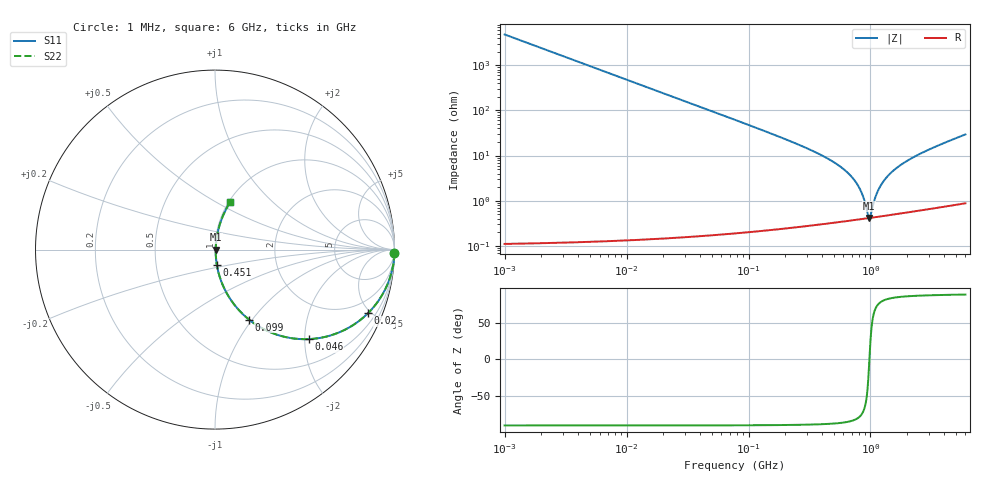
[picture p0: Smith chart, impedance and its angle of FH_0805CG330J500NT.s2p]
! FH 0805CG330J500NT 33 pF 0805 C0G (C3)
! FH publishes no RF data: typical 0805 C0G model, ESL=0.8 nH, ESR=0.10+0.10*sqrt(f/100MHz) ohm
! Generated by make_s2p.py - an estimate, not a measurement
! Series-thru 2-port: part connected between port 1 and port 2.
# Hz S RI R 50
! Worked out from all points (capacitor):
!   1500 points, 1 MHz to 6 GHz, reference 50 ohm
!   read as one part in series: C = 33 pF near 8 MHz
!   lowest |Z| = 413 mohm at 979 MHz (marker M1)
!   series resonance near 979.5 MHz, so ESL is about 800 pH
!   S11 on the Smith chart (normalised r, x): 1 MHz: 1, -96; 20 MHz: 1.00, -4.82; 46 MHz: 1.00, -2.09; 99 MHz: 1.00, -0.96; 451 MHz: 1.01, -0.17; 6 GHz: 1.02, +0.59
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1000000  0.9996 -0.0207  0.00043 0.0207  0.00043 0.0207  0.9996 -0.0207
3000000  0.9961 -0.062  0.00386 0.062  0.00386 0.062  0.9961 -0.062
5000000  0.9894 -0.1026  0.0106 0.1026  0.0106 0.1026  0.9894 -0.1026
1.9e7  0.8654 -0.341  0.1346 0.341  0.1346 0.341  0.8654 -0.341
2e7  0.853 -0.3538  0.147 0.3538  0.147 0.3538  0.853 -0.3538
4.6e7  0.5225 -0.4987  0.4775 0.4987  0.4775 0.4987  0.5225 -0.4987
7.8e7  0.2747 -0.4448  0.7253 0.4448  0.7253 0.4448  0.2747 -0.4448
9.9e7  0.1896 -0.39  0.8104 0.39  0.8104 0.39  0.1896 -0.39
1.67e8  0.0747 -0.2589  0.9253 0.2589  0.9253 0.2589  0.0747 -0.2589
3.31e8  0.0191 -0.1263  0.9809 0.1263  0.9809 0.1263  0.0191 -0.1263
4.51e8  0.0101 -0.0832  0.9899 0.0832  0.9899 0.0832  0.0101 -0.0832
6.13e8  0.00573 -0.0474  0.9943 0.0474  0.9943 0.0474  0.00573 -0.0474
7.57e8  0.00439 -0.0255  0.9956 0.0255  0.9956 0.0255  0.00439 -0.0255
8.62e8  0.00408 -0.0125  0.9959 0.0125  0.9959 0.0125  0.00408 -0.0125
9.79e8  0.00411 -5.3e-05  0.9959 5.3e-05  0.9959 5.3e-05  0.00411 -5.3e-05
9.94e8  0.00414 0.00143  0.9959 -0.00143  0.9959 -0.00143  0.00414 0.00143
1e9  0.00415 0.00202  0.9959 -0.00202  0.9959 -0.00202  0.00415 0.00202
1.16e9  0.00466 0.0166  0.9953 -0.0166  0.9953 -0.0166  0.00466 0.0166
1.41e9  0.00606 0.0363  0.9939 -0.0363  0.9939 -0.0363  0.00606 0.0363
1.75e9  0.00874 0.0596  0.9913 -0.0596  0.9913 -0.0596  0.00874 0.0596
2.35e9  0.0151 0.0956  0.9849 -0.0956  0.9849 -0.0956  0.0151 0.0956
6e9  0.0861 0.266  0.9139 -0.266  0.9139 -0.266  0.0861 0.266
